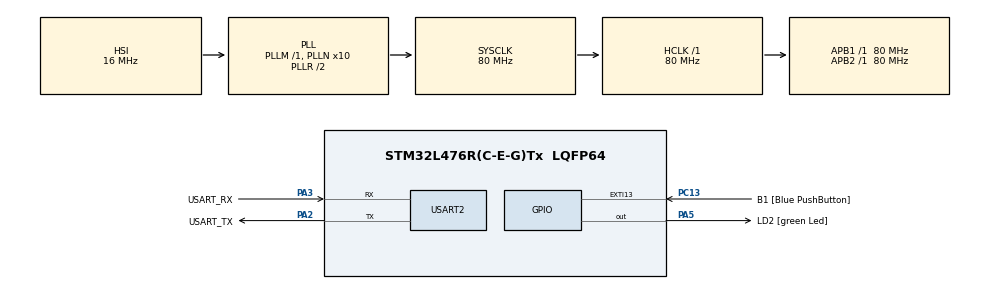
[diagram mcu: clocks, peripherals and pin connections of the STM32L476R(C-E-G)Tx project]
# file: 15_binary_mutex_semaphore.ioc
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FREERTOS.Tasks01=defaultTask,0,128,StartDefaultTask,Default,NULL,Dynamic,NULL,NULL
FREERTOS.configUSE_COUNTING_SEMAPHORES=1
Mcu.Family=STM32L4
Mcu.Name=STM32L476R(C-E-G)Tx
Mcu.Package=LQFP64
NVIC.PriorityGroup=NVIC_PRIORITYGROUP_4
PA13\ (JTMS-SWDIO).GPIO_Label=TMS
PA13\ (JTMS-SWDIO).Mode=Serial_Wire
PA13\ (JTMS-SWDIO).Signal=SYS_JTMS-SWDIO
PA14\ (JTCK-SWCLK).GPIO_Label=TCK
PA14\ (JTCK-SWCLK).Mode=Serial_Wire
PA14\ (JTCK-SWCLK).Signal=SYS_JTCK-SWCLK
PA2.GPIO_Label=USART_TX
PA2.GPIO_Mode=GPIO_MODE_AF_PP
PA2.GPIO_PuPd=GPIO_NOPULL
PA2.GPIO_Speed=GPIO_SPEED_FREQ_VERY_HIGH
PA2.Mode=Asynchronous
PA2.Signal=USART2_TX
PA3.GPIO_Label=USART_RX
PA3.GPIO_Mode=GPIO_MODE_AF_PP
PA3.GPIO_PuPd=GPIO_NOPULL
PA3.GPIO_Speed=GPIO_SPEED_FREQ_VERY_HIGH
PA3.Mode=Asynchronous
PA3.Signal=USART2_RX
PA5.GPIO_Label=LD2 [green Led]
PA5.GPIO_ModeDefaultOutputPP=GPIO_MODE_OUTPUT_PP
PA5.GPIO_PuPd=GPIO_NOPULL
PA5.GPIO_Speed=GPIO_SPEED_FREQ_LOW
PA5.Signal=GPIO_Output
PB3\ (JTDO-TRACESWO).GPIO_Label=SWO
PB3\ (JTDO-TRACESWO).Signal=SYS_JTDO-SWO
PC13.GPIO_Label=B1 [Blue PushButton]
PC13.GPIO_ModeDefaultEXTI=GPIO_MODE_IT_FALLING
PC13.GPIO_PuPd=GPIO_NOPULL
PC13.Signal=GPXTI13
PC14-OSC32_IN\ (PC14).Mode=LSE-External-Oscillator
PC14-OSC32_IN\ (PC14).Signal=RCC_OSC32_IN
PC15-OSC32_OUT\ (PC15).Mode=LSE-External-Oscillator
PC15-OSC32_OUT\ (PC15).Signal=RCC_OSC32_OUT
PH0-OSC_IN\ (PH0).Signal=RCC_OSC_IN
PH1-OSC_OUT\ (PH1).Signal=RCC_OSC_OUT
ProjectManager.HeapSize=0x200
ProjectManager.StackSize=0x400
ProjectManager.TargetToolchain=STM32CubeIDE
RCC.ADCFreq_Value=64000000
RCC.AHBFreq_Value=80000000
RCC.APB1Freq_Value=80000000
RCC.APB1TimFreq_Value=80000000
RCC.APB2Freq_Value=80000000
RCC.APB2TimFreq_Value=80000000
RCC.CortexFreq_Value=80000000
RCC.HCLKFreq_Value=80000000
RCC.HSE_VALUE=8000000
RCC.HSI_VALUE=16000000
RCC.MSI_VALUE=4000000
RCC.PLLN=10
RCC.PLLSourceVirtual=RCC_PLLSOURCE_HSI
RCC.PREFETCH_ENABLE=1
RCC.SYSCLKFreq_VALUE=80000000
RCC.SYSCLKSource=RCC_SYSCLKSOURCE_PLLCLK
RCC.USBFreq_Value=64000000
RCC.VCOOutputFreq_Value=160000000
USART2.VirtualMode-Asynchronous=VM_ASYNC
VP_FREERTOS_VS_CMSIS_V1.Mode=CMSIS_V1
board=NUCLEO-L476RG

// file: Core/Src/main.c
/* USER CODE BEGIN Header */
/**
  ******************************************************************************
  * @file           : main.c
  * @brief          : Main program body
  ******************************************************************************
  * @attention
  *
  * Copyright (c) 2025 STMicroelectronics.
  * All rights reserved.
  *
  * This software is licensed under terms that can be found in the LICENSE file
  * in the root directory of this software component.
  * If no LICENSE file comes with this software, it is provided AS-IS.
  *
  ******************************************************************************
  */
/* USER CODE END Header */
#include "main.h"
#include "cmsis_os.h"

/* USER CODE BEGIN Includes */
#include<string.h>
#include<stdio.h>
#include"semphr.h"
/* USER CODE END Includes */

UART_HandleTypeDef huart2;

osThreadId defaultTaskHandle;
/* USER CODE BEGIN PV */
xSemaphoreHandle xUARTMutex;   // Semaphore for UART access
/* USER CODE END PV */

void SystemClock_Config(void);
static void MX_GPIO_Init(void);
static void MX_USART2_UART_Init(void);
void StartDefaultTask(void const * argument);

/* USER CODE BEGIN 0 */
// Function to send strings via UART2
void UART2_SendString(char *s)
{
    HAL_UART_Transmit(&huart2, (uint8_t *)s, strlen(s), 1000);
}

// LED Task
void vTaskBlinkLED(void *p)
{
    while(1)
    {
        xSemaphoreTake(xUARTMutex, portMAX_DELAY);   // Lock semaphore
        UART2_SendString("LED Task is running\r\n"); // Send message
        xSemaphoreGive(xUARTMutex);                  // Unlock semaphore
        vTaskDelay(pdMS_TO_TICKS(500));              // Delay 500ms
    }
}

// Sensor Task
void vTaskSensor(void *p)
{
    while(1)
    {
        xSemaphoreTake(xUARTMutex, portMAX_DELAY);     // Lock semaphore
        UART2_SendString("Sensor Task is running\r\n");// Send message
        xSemaphoreGive(xUARTMutex);                    // Unlock semaphore
        vTaskDelay(pdMS_TO_TICKS(500));                // Delay 500ms
    }
}

/* USER CODE END 0 */

int main(void)
{

  /* MCU Configuration--------------------------------------------------------*/

  /* Reset of all peripherals, Initializes the Flash interface and the Systick. */
  HAL_Init();

  /* Configure the system clock */
  SystemClock_Config();

  /* Initialize all configured peripherals */
  MX_GPIO_Init();
  MX_USART2_UART_Init();

  /* Create the thread(s) */
  /* definition and creation of defaultTask */
  osThreadDef(defaultTask, StartDefaultTask, osPriorityNormal, 0, 128);
  defaultTaskHandle = osThreadCreate(osThread(defaultTask), NULL);

  /* USER CODE BEGIN RTOS_THREADS */
  vSemaphoreCreateBinary(xUARTMutex);   // Create binary semaphore

  if(xUARTMutex != NULL)                // Check if semaphore created successfully
    {
        xTaskCreate(vTaskBlinkLED, "LED-Task", configMINIMAL_STACK_SIZE, NULL, 1, NULL);   // Create LED Task
        xTaskCreate(vTaskSensor,  "Sensor-Task", configMINIMAL_STACK_SIZE, NULL, 1, NULL); // Create Sensor Task
        xSemaphoreGive(xUARTMutex);       // Give semaphore initially
    }
  /* USER CODE END RTOS_THREADS */

  /* Start scheduler */
  osKernelStart();

  /* We should never get here as control is now taken by the scheduler */

  /* Infinite loop */
  while (1)
  {

  }
}

void SystemClock_Config(void)
{
  RCC_OscInitTypeDef RCC_OscInitStruct = {0};
  RCC_ClkInitTypeDef RCC_ClkInitStruct = {0};

  /** Configure the main internal regulator output voltage
  */
  if (HAL_PWREx_ControlVoltageScaling(PWR_REGULATOR_VOLTAGE_SCALE1) != HAL_OK)
  {
    Error_Handler();
  }

  /** Initializes the RCC Oscillators according to the specified parameters
  * in the RCC_OscInitTypeDef structure.
  */
  RCC_OscInitStruct.OscillatorType = RCC_OSCILLATORTYPE_HSI;
  RCC_OscInitStruct.HSIState = RCC_HSI_ON;
  RCC_OscInitStruct.HSICalibrationValue = RCC_HSICALIBRATION_DEFAULT;
  RCC_OscInitStruct.PLL.PLLState = RCC_PLL_ON;
  RCC_OscInitStruct.PLL.PLLSource = RCC_PLLSOURCE_HSI;
  RCC_OscInitStruct.PLL.PLLM = 1;
  RCC_OscInitStruct.PLL.PLLN = 10;
  RCC_OscInitStruct.PLL.PLLP = RCC_PLLP_DIV7;
  RCC_OscInitStruct.PLL.PLLQ = RCC_PLLQ_DIV2;
  RCC_OscInitStruct.PLL.PLLR = RCC_PLLR_DIV2;
  if (HAL_RCC_OscConfig(&RCC_OscInitStruct) != HAL_OK)
  {
    Error_Handler();
  }

  /** Initializes the CPU, AHB and APB buses clocks
  */
  RCC_ClkInitStruct.ClockType = RCC_CLOCKTYPE_HCLK|RCC_CLOCKTYPE_SYSCLK
                              |RCC_CLOCKTYPE_PCLK1|RCC_CLOCKTYPE_PCLK2;
  RCC_ClkInitStruct.SYSCLKSource = RCC_SYSCLKSOURCE_PLLCLK;
  RCC_ClkInitStruct.AHBCLKDivider = RCC_SYSCLK_DIV1;
  RCC_ClkInitStruct.APB1CLKDivider = RCC_HCLK_DIV1;
  RCC_ClkInitStruct.APB2CLKDivider = RCC_HCLK_DIV1;

  if (HAL_RCC_ClockConfig(&RCC_ClkInitStruct, FLASH_LATENCY_4) != HAL_OK)
  {
    Error_Handler();
  }
}

static void MX_USART2_UART_Init(void)
{

  huart2.Instance = USART2;
  huart2.Init.BaudRate = 115200;
  huart2.Init.WordLength = UART_WORDLENGTH_8B;
  huart2.Init.StopBits = UART_STOPBITS_1;
  huart2.Init.Parity = UART_PARITY_NONE;
  huart2.Init.Mode = UART_MODE_TX_RX;
  huart2.Init.HwFlowCtl = UART_HWCONTROL_NONE;
  huart2.Init.OverSampling = UART_OVERSAMPLING_16;
  huart2.Init.OneBitSampling = UART_ONE_BIT_SAMPLE_DISABLE;
  huart2.AdvancedInit.AdvFeatureInit = UART_ADVFEATURE_NO_INIT;
  if (HAL_UART_Init(&huart2) != HAL_OK)
  {
    Error_Handler();
  }

}

static void MX_GPIO_Init(void)
{
  GPIO_InitTypeDef GPIO_InitStruct = {0};

  /* GPIO Ports Clock Enable */
  __HAL_RCC_GPIOC_CLK_ENABLE();
  __HAL_RCC_GPIOH_CLK_ENABLE();
  __HAL_RCC_GPIOA_CLK_ENABLE();
  __HAL_RCC_GPIOB_CLK_ENABLE();

  /*Configure GPIO pin Output Level */
  HAL_GPIO_WritePin(LD2_GPIO_Port, LD2_Pin, GPIO_PIN_RESET);

  /*Configure GPIO pin : B1_Pin */
  GPIO_InitStruct.Pin = B1_Pin;
  GPIO_InitStruct.Mode = GPIO_MODE_IT_FALLING;
  GPIO_InitStruct.Pull = GPIO_NOPULL;
  HAL_GPIO_Init(B1_GPIO_Port, &GPIO_InitStruct);

  /*Configure GPIO pin : LD2_Pin */
  GPIO_InitStruct.Pin = LD2_Pin;
  GPIO_InitStruct.Mode = GPIO_MODE_OUTPUT_PP;
  GPIO_InitStruct.Pull = GPIO_NOPULL;
  GPIO_InitStruct.Speed = GPIO_SPEED_FREQ_LOW;
  HAL_GPIO_Init(LD2_GPIO_Port, &GPIO_InitStruct);

}

void StartDefaultTask(void const * argument)
{
  for(;;)
  {
    osDelay(1);
  }
}

void Error_Handler(void)
{
  __disable_irq();
  while (1)
  {
  }
}
